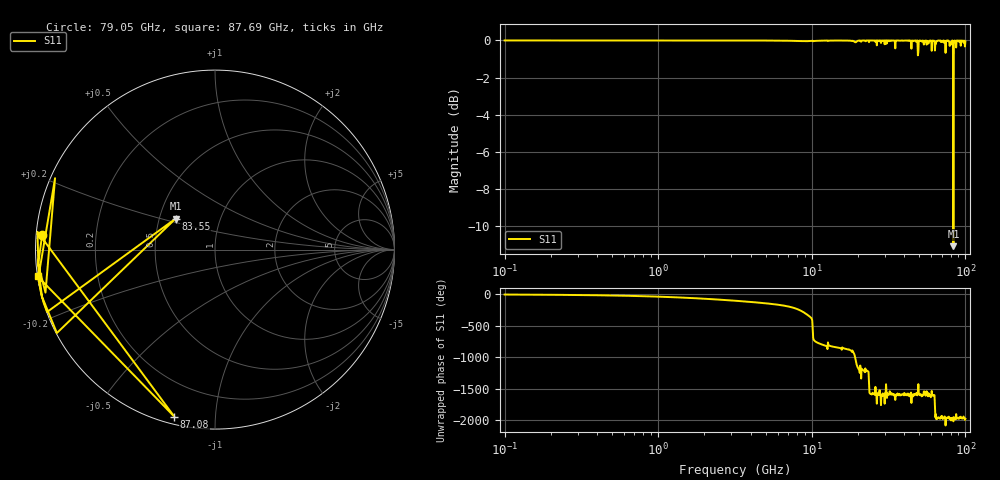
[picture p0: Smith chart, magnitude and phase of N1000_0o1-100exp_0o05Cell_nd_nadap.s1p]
! Sonnet Data File
! From: em Version : 18.56
! From Project: N1000_0o1-100exp_0o05Cell_nd_nadap
! Data is De-embedded
! Data File Written: 03/07/2023 07:09:06
!< HDATE 03/07/2023 06:37:38
!< MDATE 03/07/2023 06:37:38
# GHZ S MA R 50.00000
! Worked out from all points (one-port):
!   1000 points, 100 MHz to 100 GHz, reference 50 ohm
!   lowest |S11| = -11.1 dB at 83.55 GHz (marker M1), VSWR 1.78, Z = 30.4 + j11.3 ohm
!   |S11| at or under -10 dB: 83.48915 GHz to 83.60189 GHz (112.7 MHz wide, 0.135 % of centre)
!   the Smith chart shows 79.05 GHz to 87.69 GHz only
!   S11 on the Smith chart (normalised r, x): 79.05 GHz: 0.02, +0.04; 83.55 GHz: 0.61, +0.23; 87.08 GHz: 0.03, -0.79; 87.69 GHz: 0.00, -0.07
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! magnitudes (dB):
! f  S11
! 100 MHz  0.0
! 237.3 MHz  0.0
! 563.3 MHz  0.0
! 1.337 GHz  0.0
! 3.173 GHz  0.0
! 7.531 GHz  0.0
! 17.88 GHz  0.0
! 30.23 GHz  0.0
! 42.43 GHz  0.0
! 44.22 GHz  0.0
! 47.06 GHz  0.0
! 47.72 GHz  -0.1
! 48.05 GHz  0.0
! 50.78 GHz  0.0
! 51.49 GHz  0.0
! 60.78 GHz  0.0
! 62.49 GHz  0.0
! 67.43 GHz  0.0
! 71.26 GHz  -0.1
! 71.76 GHz  0.0
! 79.05 GHz  -0.3
! 80.15 GHz  -0.2
! 80.71 GHz  -0.2
! 83.55 GHz  -11.1
! 86.48 GHz  -0.1
! 87.08 GHz  -0.4
! 87.69 GHz  0.0
! 100 GHz  -0.1
